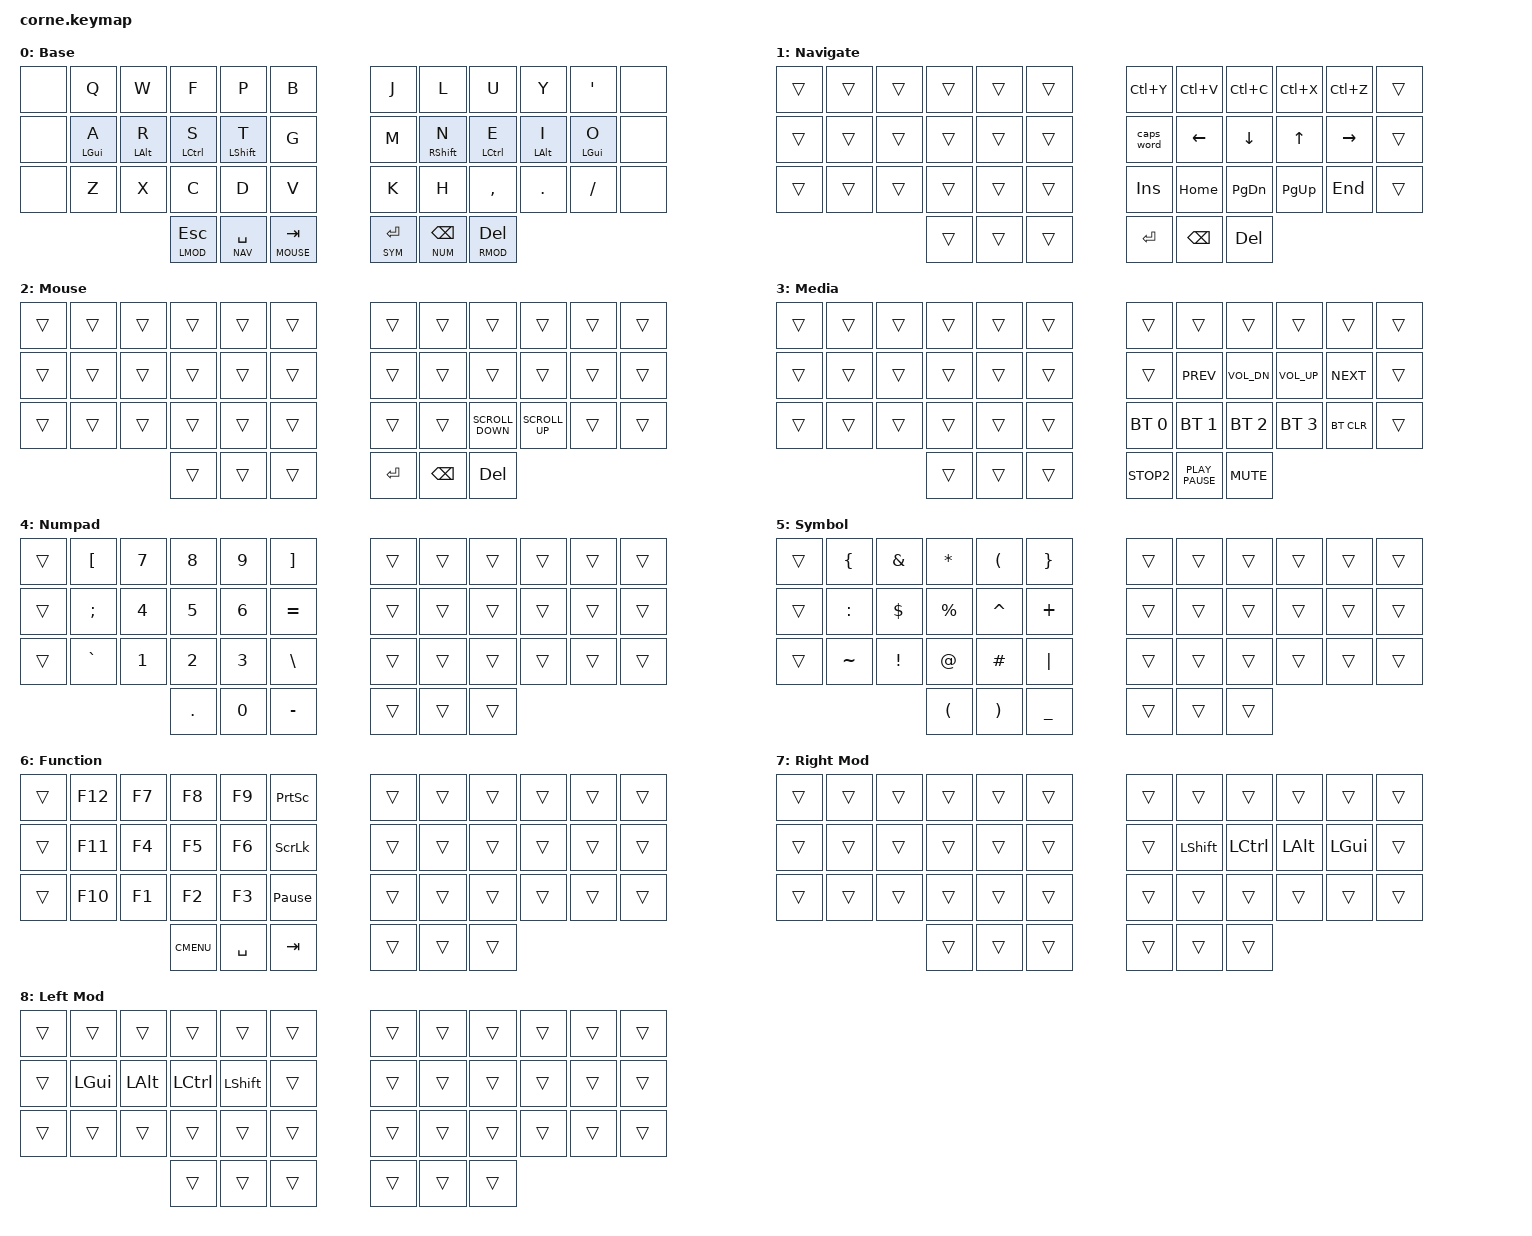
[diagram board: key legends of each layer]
/*
 * Copyright (c) 2020 The ZMK Contributors
 *
 * SPDX-License-Identifier: MIT
 */

#include <behaviors.dtsi>
#include <dt-bindings/zmk/keys.h>
#include <dt-bindings/zmk/bt.h>

#define DEFAULT 0
#define NAV     1
#define MOUSE   2
#define MEDIA   3
#define NUM     4
#define SYM     5
#define FUNC    6
#define RMOD    7
#define LMOD    8

/ {
    combos {
        compatible = "zmk,combos";
        combo_media {
            timeout-ms = <50>;
            key-positions = <37 38>;
            bindings = <&mo MEDIA>;
        };
        combo_function {
            timeout-ms = <50>;
            key-positions = <39 40>;
            bindings = <&mo FUNC>;
        };
    };
};

/ {
    behaviors {
        hrm: tap-unless-interrupted {
            compatible = "zmk,behavior-hold-tap";
            label = "HOMEROW_MODS";
            #binding-cells = <2>;
            tapping-term-ms = <200>;
            quick-tap-ms = <125>;
            flavor = "tap-unless-interrupted";
            bindings = <&kp>, <&kp>;
        };
    };

		keymap {
				compatible = "zmk,keymap";

		default_layer {
				// ---------------------------------------------------------------------------------------------------------
				// | Q      | W      | F       | P       | B      || J        | L       | U       | Y      | '      |
				// | LGUI A | LALT R | LCTRL S | LSHFT T | G      || M        | LSHFT N | LCTRL E | LALT I | LGUI O |
				// | Z      | RALT X | C       | D       | V      || K        | H       | ,       | RALT . | /      |
				// |        |        | L3 Esc  | L1 Spc  | L2 Tab || L5 Enter | L4 BSPC | L6 DEL  |        |        |
			label = "Base";
			bindings = <
				&none  &kp Q       &kp W       &kp F         &kp P         &kp B         &kp J         &kp L        &kp U        &kp Y       &kp APOS    &none
				&none  &hrm LGUI A &hrm LALT R &hrm LCTRL S  &hrm LSHFT T  &kp G         &kp M         &hrm RSHFT N &hrm LCTRL E &hrm LALT I &hrm LGUI O &none
				&none  &kp Z       &kp X       &kp C         &kp D         &kp V         &kp K         &kp H        &kp COMMA    &kp DOT     &kp FSLH    &none
				                               &lt LMOD ESC  &lt NAV SPACE &lt MOUSE TAB &lt SYM ENTER &lt NUM BSPC &lt RMOD DEL
				>;
		};
		nav {
				// --------------------------------------------------------------------------------------
				// |      |      |       |       |   || Redo   | Paste | Copy    | Cut   | Undo  |
				// |      |      |       |       |   || Caps   | Left  | Down    | Up    | Right |
				// |      |      |       |       |   || Insert | Home  | Pg Down | Pg Up | End   |
				// |      |      |       |       |   || Enter  | BSPC  | DEL     |       |       |
			label = "Navigate";
			bindings = <
				&trans    &trans    &trans    &trans    &trans    &trans    &kp LC(Y)   &kp LC(V)  &kp LC(C)  &kp LC(X)  &kp LC(Z)  &trans
				&trans    &trans    &trans    &trans    &trans    &trans    &caps_word  &kp LEFT   &kp DOWN   &kp UP     &kp RIGHT  &trans
				&trans    &trans    &trans    &trans    &trans    &trans    &kp INS     &kp HOME   &kp PG_DN  &kp PG_UP  &kp END    &trans
				                              &trans    &trans    &trans    &kp ENTER   &kp BSPC   &kp DEL
			>;
		};
		mouse {
				// -----------------------------------------------------------------------------------------
				// |      |      |       |       |   ||       |      |             |           |    |
				// |      |      |       |       |   || XX    | XX   | XX          | XX        | XX |
				// |      |      |       |       |   || XX    | XX   | Scroll Down | Scroll Up | XX |
				// |      |      |       |       |   || Enter | BSPC | DEL         |           |    |
			label = "Mouse";
			bindings = <
				&trans   &trans    &trans    &trans    &trans    &trans     &trans      &trans     &trans             &trans           &trans  &trans
				&trans   &trans    &trans    &trans    &trans    &trans     &trans      &trans     &trans             &trans           &trans  &trans
				&trans   &trans    &trans    &trans    &trans    &trans     &trans      &trans     &kp K_SCROLL_DOWN  &kp K_SCROLL_UP  &trans  &trans
				                             &trans    &trans    &trans     &kp ENTER   &kp BSPC   &kp DEL
			>;
		};
		media {
				// ---------------------------------------------------------------------------
				// |       |      |       |       |   ||      |      |      |      |        |
				// |       |      |       |       |   ||      | Prev | Vol- | Vol+ | Next   |
				// |       |      |       |       |   || BT 0 | PT 1 | BT 2 | BT 3 | BT CLR |
				// |       |      |       |       |   || Stop | Play | Mute |      |        |
			label = "Media";
			bindings = <
				&trans    &trans    &trans    &trans    &trans    &trans    &trans         &trans            &trans        &trans        &trans      &trans
				&trans    &trans    &trans    &trans    &trans    &trans    &trans         &kp K_PREV        &kp K_VOL_DN  &kp K_VOL_UP  &kp K_NEXT  &trans
				&trans    &trans    &trans    &trans    &trans    &trans    &bt BT_SEL 0   &bt BT_SEL 1      &bt BT_SEL 2  &bt BT_SEL 3  &bt BT_CLR  &trans
				                              &trans    &trans    &trans    &kp K_STOP2    &kp K_PLAY_PAUSE  &kp K_MUTE
			>;
		};
		number {
				// --------------------------------------------------------------
				// | [ | 7 | 8 | 9 | ] ||  |         |       |      |      |
				// | ; | 4 | 5 | 6 | = ||  |         |       |      |      |
				// | ` | 1 | 2 | 3 | \ ||  |         |       |      |      |
				// |   |   | . | 0 | - ||  |         |       |      |      |
			label = "Numpad";
			bindings = <
				&trans  &kp LBKT   &kp NUM_7  &kp NUM_8  &kp NUM_9  &kp RBKT    &trans    &trans    &trans    &trans    &trans    &trans
				&trans  &kp SEMI   &kp NUM_4  &kp NUM_5  &kp NUM_6  &kp EQUAL   &trans    &trans    &trans    &trans    &trans    &trans
				&trans  &kp GRAVE  &kp NUM_1  &kp NUM_2  &kp NUM_3  &kp BSLH    &trans    &trans    &trans    &trans    &trans    &trans
				                              &kp DOT    &kp NUM_0  &kp MINUS   &trans    &trans    &trans
			>;
		};
		symbol {
				// ------------------------------------------------------------
				// | { | & | * | ( | } ||  |       |       |      |      |
				// | : | $ | % | ^ | + ||  |       |       |      |      |
				// | ~ | ! | @ | # | | ||  |       |       |      |      |
				// |   |   | ( | ) | _ ||  |       |       |      |      |
			label = "Symbol";
			bindings = <
				&trans  &kp LBRC    &kp AMPS   &kp ASTRK  &kp LPAR   &kp RBRC     &trans   &trans    &trans    &trans    &trans    &trans
				&trans  &kp COLON   &kp DLLR   &kp PRCNT  &kp CARET  &kp PLUS     &trans   &trans    &trans    &trans    &trans    &trans
				&trans  &kp TILDE   &kp EXCL   &kp AT     &kp HASH   &kp PIPE     &trans   &trans    &trans    &trans    &trans    &trans
				                               &kp LPAR   &kp RPAR   &kp UNDER    &trans   &trans    &trans
			>;
		};
		function {
				// ------------------------------------------------------------------------------
				// | F12 | F7 | F8   | F9    | Prnt Scrn ||  |       |       |      |      |
				// | F11 | F4 | F5   | F6    | Scrl Lck  ||  |       |       |      |      |
				// | F10 | F1 | F2   | F3    | Pause     ||  |       |       |      |      |
				// |     |    | Menu | Space | Tab       ||  |       |       |      |      |
			label = "Function";
			bindings = <
				&trans    &kp F12    &kp F7    &kp F8       &kp F9     &kp PSCRN          &trans   &trans    &trans    &trans    &trans    &trans
				&trans    &kp F11    &kp F4    &kp F5       &kp F6     &kp SLCK           &trans   &trans    &trans    &trans    &trans    &trans
				&trans    &kp F10    &kp F1    &kp F2       &kp F3     &kp PAUSE_BREAK    &trans   &trans    &trans    &trans    &trans    &trans
				                               &kp K_CMENU  &kp SPACE  &kp TAB            &trans   &trans    &trans
			>;
		};
		RMOD {
				// ------------------------------------------------------------------------------
				// |       |      |       |       |   ||  |       |       |      |      |
				// |       |      |       |       |   ||  | LSHFT | LCTRL | LALT | LGUI |
				// |       |      |       |       |   ||  |       |       |      |      |
				// |       |      |       |       |   ||  |       |       |      |      |
			label = "Right Mod";
			bindings = <
				&trans   &trans    &trans    &trans    &trans    &trans      &trans   &trans     &trans     &trans    &trans     &trans
				&trans   &trans    &trans    &trans    &trans    &trans      &trans   &kp LSHFT  &kp LCTRL  &kp LALT  &kp LGUI   &trans
				&trans   &trans    &trans    &trans    &trans    &trans      &trans   &trans     &trans     &trans    &trans     &trans
				                             &trans    &trans    &trans      &trans   &trans     &trans
			>;
		};
		LMOD {
				// ------------------------------------------------------------------------------
				// |       |      |       |       |   ||  |       |       |      |      |
				// | LGUI  | LALT | LCTRL | LSHFT |   ||  |       |       |      |      |
				// |       |      |       |       |   ||  |       |       |      |      |
				// |       |      |       |       |   ||  |       |       |      |      |
			label = "Left Mod";
			bindings = <
				&trans   &trans    &trans    &trans    &trans     &trans      &trans   &trans     &trans     &trans    &trans     &trans
				&trans   &kp LGUI  &kp LALT  &kp LCTRL &kp LSHFT  &trans      &trans   &trans     &trans     &trans    &trans     &trans
				&trans   &trans    &trans    &trans    &trans     &trans      &trans   &trans     &trans     &trans    &trans     &trans
				                             &trans    &trans     &trans      &trans   &trans     &trans
			>;
		};
	};
}; 
